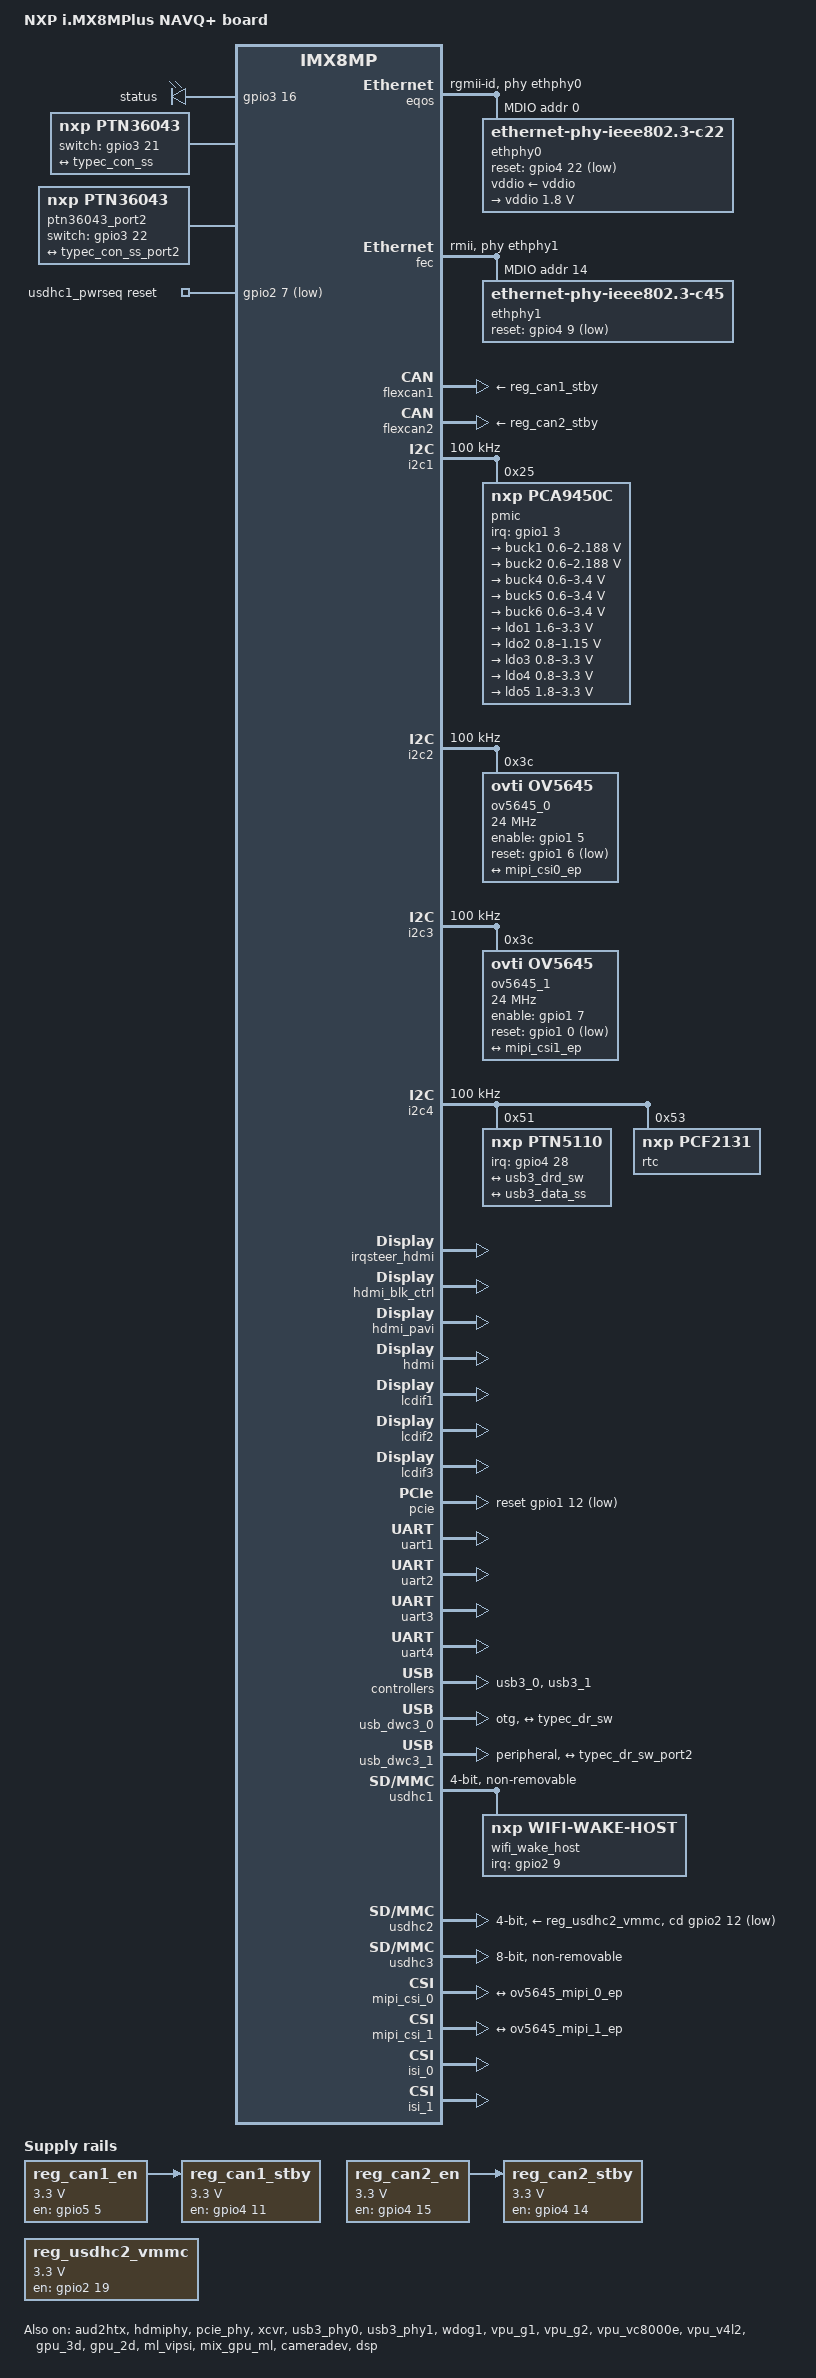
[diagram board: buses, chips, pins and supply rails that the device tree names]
// SPDX-License-Identifier: (GPL-2.0+ OR MIT)
/*
 * Copyright 2021-2023 Emcraft Systems
 * Copyright 2023 VoxelBotics
 * Copyright 2024 NXP
 */

/dts-v1/;

#include <dt-bindings/usb/pd.h>
#include "imx8mp.dtsi"

/ {
	model = "NXP i.MX8MPlus NAVQ+ board";
	compatible = "fsl,imx8mp-navq", "fsl,imx8mp";

	reserved-memory {
		#address-cells = <2>;
		#size-cells = <2>;
		ranges;

		rpmsg_reserved: rpmsg@55800000 {
			no-map;
			reg = <0 0x55800000 0 0x800000>;
		};
	};

	chosen {
		stdout-path = &uart2;
	};

	gpio-leds {
		compatible = "gpio-leds";
		pinctrl-names = "default";
		pinctrl-0 = <&pinctrl_gpio_led>;

		status {
			label = "status";
			gpios = <&gpio3 16 GPIO_ACTIVE_HIGH>;
			default-state = "on"; /* LED GREEN */
		};
	};

	reg_can1_en: regulator-can1-gen {
		compatible = "regulator-fixed";
		regulator-name = "can1-en";
		pinctrl-names = "default";
		pinctrl-0 = <&pinctrl_flexcan1_reg_en>;
		regulator-min-microvolt = <3300000>;
		regulator-max-microvolt = <3300000>;
		gpio = <&gpio5 5 GPIO_ACTIVE_HIGH>;
		enable-active-high;
	};

	reg_can2_en: regulator-can2-gen {
		compatible = "regulator-fixed";
		regulator-name = "can2-en";
		pinctrl-names = "default";
		pinctrl-0 = <&pinctrl_flexcan2_reg_en>;
		regulator-min-microvolt = <3300000>;
		regulator-max-microvolt = <3300000>;
		gpio = <&gpio4 15 GPIO_ACTIVE_HIGH>;
		enable-active-high;
	};

	reg_can1_stby: regulator-can1-stby {
		compatible = "regulator-fixed";
		regulator-name = "can1-stby";
		pinctrl-names = "default";
		pinctrl-0 = <&pinctrl_flexcan1_reg_stby>;
		regulator-min-microvolt = <3300000>;
		regulator-max-microvolt = <3300000>;
		gpio = <&gpio4 11 GPIO_ACTIVE_HIGH>;
		enable-active-high;
		vin-supply = <&reg_can1_en>;
	};

	reg_can2_stby: regulator-can2-stby {
		compatible = "regulator-fixed";
		regulator-name = "can2-stby";
		pinctrl-names = "default";
		pinctrl-0 = <&pinctrl_flexcan2_reg_stby>;
		regulator-min-microvolt = <3300000>;
		regulator-max-microvolt = <3300000>;
		gpio = <&gpio4 14 GPIO_ACTIVE_HIGH>;
		enable-active-high;
		vin-supply = <&reg_can2_en>;
	};

	reg_usdhc2_vmmc: regulator-usdhc2 {
		compatible = "regulator-fixed";
		pinctrl-names = "default";
		pinctrl-0 = <&pinctrl_reg_usdhc2_vmmc>;
		regulator-name = "VSD_3V3";
		regulator-min-microvolt = <3300000>;
		regulator-max-microvolt = <3300000>;
		gpio = <&gpio2 19 GPIO_ACTIVE_HIGH>;
		enable-active-high;
		startup-delay-us = <100>;
		off-on-delay-us = <12000>;
	};

	ptn36043 {
		compatible = "nxp,ptn36043";
		pinctrl-names = "default";
		pinctrl-0 = <&pinctrl_typec_mux>;
		switch-gpios = <&gpio3 21 GPIO_ACTIVE_HIGH>;
		orientation-switch;

		port {
			usb3_data_ss: endpoint {
				remote-endpoint = <&typec_con_ss>;
			};
		};
	};

	ptn36043_port2 {
		compatible = "nxp,ptn36043";
		pinctrl-names = "default";
		pinctrl-0 = <&pinctrl_typec_mux_port2>;
		switch-gpios = <&gpio3 22 GPIO_ACTIVE_HIGH>;
		orientation-switch;

		port {
			usb3_data_ss_port2: endpoint {
				remote-endpoint = <&typec_con_ss_port2>;
			};
		};
	};

	sound-hdmi {
		compatible = "fsl,imx-audio-hdmi";
		model = "audio-hdmi";
		audio-cpu = <&aud2htx>;
		hdmi-out;
		constraint-rate = <44100>,
				<88200>,
				<176400>,
				<32000>,
				<48000>,
				<96000>,
				<192000>;
		status = "okay";
	};

	sound-xcvr {
		compatible = "fsl,imx-audio-card";
		model = "imx-audio-xcvr";
		pri-dai-link {
			link-name = "XCVR PCM";
			cpu {
				sound-dai = <&xcvr>;
			};
		};
	};

	usdhc1_pwrseq: usdhc1_pwrseq {
		compatible = "mmc-pwrseq-simple";
		reset-gpios = <&gpio2 7 GPIO_ACTIVE_LOW>;
	};
};

&A53_0 {
	cpu-supply = <&buck2>;
};

&A53_1 {
	cpu-supply = <&buck2>;
};

&A53_2 {
	cpu-supply = <&buck2>;
};

&A53_3 {
	cpu-supply = <&buck2>;
};

&aud2htx {
	status = "okay";
};

&clk {
	init-on-array = <IMX8MP_CLK_HSIO_ROOT>;
};

&eqos {
	pinctrl-names = "default";
	pinctrl-0 = <&pinctrl_eqos>;
	phy-mode = "rgmii-id";
	phy-handle = <&ethphy0>;
	status = "okay";

	mdio {
		compatible = "snps,dwmac-mdio";
		#address-cells = <1>;
		#size-cells = <0>;

		ethphy0: ethernet-phy@0 {
			compatible = "ethernet-phy-ieee802.3-c22";
			reg = <0>;
			reset-gpios = <&gpio4 22 GPIO_ACTIVE_LOW>;
			reset-assert-us = <10000>;
			reset-deassert-us = <20>;

			qca,disable-smarteee;
			qca,disable-hibernation-mode;
			vddio-supply = <&vddio>;

			vddio: vddio-regulator {
				regulator-min-microvolt = <1800000>;
				regulator-max-microvolt = <1800000>;
			};
		};
	};
};

&fec {
	pinctrl-names = "default";
	pinctrl-0 = <&pinctrl_fec>;
	phy-mode = "rmii";
	phy-handle = <&ethphy1>;
	status = "okay";
	assigned-clock-parents = <&clk IMX8MP_SYS_PLL1_266M>,
							 <&clk IMX8MP_SYS_PLL2_100M>,
							 <&clk IMX8MP_SYS_PLL2_50M>,
							 <&clk IMX8MP_SYS_PLL2_50M>;
	assigned-clock-rates = <0>, <100000000>, <50000000>, <50000000>;

	mdio {
		#address-cells = <1>;
		#size-cells = <0>;

		ethphy1: ethernet-phy@14 {
			compatible = "ethernet-phy-ieee802.3-c45";
			reg = <14>;
			eee-broken-1000t;
			reset-gpios = <&gpio4 9 GPIO_ACTIVE_LOW>;
			reset-assert-us = <100000>;
			reset-deassert-us = <500000>;
		};
	};
};

&flexcan1 {
	pinctrl-names = "default";
	pinctrl-0 = <&pinctrl_flexcan1>;
	xceiver-supply = <&reg_can1_stby>;
	status = "okay";
};

&flexcan2 {
	pinctrl-names = "default";
	pinctrl-0 = <&pinctrl_flexcan2>;
	xceiver-supply = <&reg_can2_stby>;
	status = "okay";// can2 pin conflict with pdm: gpio low select pdm, gpio high select can2
};

&i2c1 {
	clock-frequency = <100000>;
	pinctrl-names = "default";
	pinctrl-0 = <&pinctrl_i2c1>;
	status = "okay";

	pmic@25 {
		compatible = "nxp,pca9450c";
		reg = <0x25>;
		pinctrl-names = "default";
		pinctrl-0 = <&pinctrl_pmic>;
		interrupt-parent = <&gpio1>;
		interrupts = <3 IRQ_TYPE_LEVEL_LOW>;

		regulators {
			buck1: BUCK1 {
				regulator-name = "BUCK1";
				regulator-min-microvolt = <600000>;
				regulator-max-microvolt = <2187500>;
				regulator-boot-on;
				regulator-always-on;
				regulator-ramp-delay = <3125>;
			};

			buck2: BUCK2 {
				regulator-name = "BUCK2";
				regulator-min-microvolt = <600000>;
				regulator-max-microvolt = <2187500>;
				regulator-boot-on;
				regulator-always-on;
				regulator-ramp-delay = <3125>;
				nxp,dvs-run-voltage = <950000>;
				nxp,dvs-standby-voltage = <850000>;
			};

			buck4: BUCK4 {
				regulator-name = "BUCK4";
				regulator-min-microvolt = <600000>;
				regulator-max-microvolt = <3400000>;
				regulator-boot-on;
				regulator-always-on;
			};

			buck5: BUCK5 {
				regulator-name = "BUCK5";
				regulator-min-microvolt = <600000>;
				regulator-max-microvolt = <3400000>;
				regulator-boot-on;
				regulator-always-on;
			};

			buck6: BUCK6 {
				regulator-name = "BUCK6";
				regulator-min-microvolt = <600000>;
				regulator-max-microvolt = <3400000>;
				regulator-boot-on;
				regulator-always-on;
			};

			ldo1: LDO1 {
				regulator-name = "LDO1";
				regulator-min-microvolt = <1600000>;
				regulator-max-microvolt = <3300000>;
				regulator-boot-on;
				regulator-always-on;
			};

			ldo2: LDO2 {
				regulator-name = "LDO2";
				regulator-min-microvolt = <800000>;
				regulator-max-microvolt = <1150000>;
				regulator-boot-on;
				regulator-always-on;
			};

			ldo3: LDO3 {
				regulator-name = "LDO3";
				regulator-min-microvolt = <800000>;
				regulator-max-microvolt = <3300000>;
				regulator-boot-on;
				regulator-always-on;
			};

			ldo4: LDO4 {
				regulator-name = "LDO4";
				regulator-min-microvolt = <800000>;
				regulator-max-microvolt = <3300000>;
				regulator-boot-on;
				regulator-always-on;
			};

			ldo5: LDO5 {
				regulator-name = "LDO5";
				regulator-min-microvolt = <1800000>;
				regulator-max-microvolt = <3300000>;
				regulator-boot-on;
				regulator-always-on;
			};
		};
	};
};

&i2c2 {
	clock-frequency = <100000>;
	pinctrl-names = "default";
	pinctrl-0 = <&pinctrl_i2c2>;
	status = "okay";

	ov5645_0: ov5645_mipi@3c {
		compatible = "ovti,ov5645";
		reg = <0x3c>;
		pinctrl-names = "default";
		pinctrl-0 = <&pinctrl_csi0_pwn>, <&pinctrl_csi0_rst>, <&pinctrl_csi_mclk>;
		clocks = <&clk IMX8MP_CLK_IPP_DO_CLKO1>;
		clock-names = "xclk";
		assigned-clocks = <&clk IMX8MP_CLK_IPP_DO_CLKO1>;
		assigned-clock-parents = <&clk IMX8MP_CLK_24M>;
		assigned-clock-rates = <24000000>;
		clock-frequency = <24000000>;
		csi_id = <0>;
		enable-gpios = <&gpio1 5 GPIO_ACTIVE_HIGH>;
		reset-gpios = <&gpio1 6 GPIO_ACTIVE_LOW>;
		mclk = <24000000>;
		mclk_source = <0>;
		status = "okay";

		port {
			ov5645_mipi_0_ep: endpoint {
				remote-endpoint = <&mipi_csi0_ep>;
				data-lanes = <1 2>;
				clock-lanes = <0>;
			};
		};
	};
};

&i2c3 {
	clock-frequency = <100000>;
	pinctrl-names = "default";
	pinctrl-0 = <&pinctrl_i2c3>;
	status = "okay";

	ov5645_1: ov5645_mipi@3c {
		compatible = "ovti,ov5645";
		reg = <0x3c>;
		pinctrl-names = "default";
		pinctrl-0 = <&pinctrl_csi1_pwn>, <&pinctrl_csi1_rst>, <&pinctrl_csi_mclk_extra>;
		clocks = <&clk IMX8MP_CLK_IPP_DO_CLKO2>;
		clock-names = "xclk";
		assigned-clocks = <&clk IMX8MP_CLK_IPP_DO_CLKO2>;
		assigned-clock-parents = <&clk IMX8MP_CLK_24M>;
		assigned-clock-rates = <24000000>;
		clock-frequency = <24000000>;
		csi_id = <1>;
		enable-gpios = <&gpio1 7 GPIO_ACTIVE_HIGH>;
		reset-gpios = <&gpio1 0 GPIO_ACTIVE_LOW>;
		mclk = <24000000>;
		mclk_source = <0>;
		mipi_csi;
		status = "okay";

		port {
			ov5645_mipi_1_ep: endpoint {
				remote-endpoint = <&mipi_csi1_ep>;
				data-lanes = <1 2>;
				clock-lanes = <0>;
			};
		};
	};
};

&i2c4 {
	clock-frequency = <100000>;
	pinctrl-names = "default";
	pinctrl-0 = <&pinctrl_i2c4>;
	status = "okay";

	ptn5110: tcpc@51 {
		compatible = "nxp,ptn5110";
		pinctrl-names = "default";
		pinctrl-0 = <&pinctrl_typec>;
		reg = <0x51>;
		interrupt-parent = <&gpio4>;
		interrupts = <28 8>;

		port {
			typec_dr_sw: endpoint {
				remote-endpoint = <&usb3_drd_sw>;
			};
		};

		usb_con: connector {
			compatible = "usb-c-connector";
			label = "USB-C Port1";
			power-role = "dual";
			data-role = "dual";
			try-power-role = "sink";
			source-pdos = <PDO_FIXED(5000, 3000, PDO_FIXED_USB_COMM)>;
			sink-pdos = <PDO_FIXED(5000, 3000, PDO_FIXED_USB_COMM)
				     PDO_VAR(5000, 20000, 3000)>;
			op-sink-microwatt = <15000000>;

			ports {
				#address-cells = <1>;
				#size-cells = <0>;

				port@1 {
					reg = <1>;
					typec_con_ss: endpoint {
						remote-endpoint = <&usb3_data_ss>;
					};
				};
			};
		};
	};

	ptn5110_port2: tcpc_port2@52 {
		compatible = "nxp,ptn5110";
		pinctrl-names = "default";
		pinctrl-0 = <&pinctrl_typec_port2>;
		reg = <0x52>;
		interrupt-parent = <&gpio3>;
		interrupts = <23 8>;
		status = "disabled";

		port {
			typec_dr_sw_port2: endpoint {
				remote-endpoint = <&usb3_drd_sw2>;
			};
		};

		usb_con_port2: connector {
			compatible = "usb-c-connector";
			label = "USB-C Port2";
			power-role = "dual";
			data-role = "dual";
			try-power-role = "sink";
			source-pdos = <PDO_FIXED(5000, 3000, PDO_FIXED_USB_COMM)>;
			sink-pdos = <PDO_FIXED(5000, 3000, PDO_FIXED_USB_COMM)
				     PDO_VAR(5000, 20000, 3000)>;
			op-sink-microwatt = <15000000>;

			ports {
				#address-cells = <1>;
				#size-cells = <0>;

				port@1 {
					reg = <1>;
					typec_con_ss_port2: endpoint {
						remote-endpoint = <&usb3_data_ss_port2>;
					};
				};
			};
		};
	};

	rtc@53 {
		compatible = "nxp,pcf2131";
		reg = <0x53>;
	};
};

&irqsteer_hdmi {
	status = "okay";
};

&hdmi_blk_ctrl {
	status = "okay";
};

&hdmi_pavi {
	status = "okay";
};

&hdmi {
	status = "okay";
};

&hdmiphy {
	status = "okay";
};

&lcdif1 {
	status = "okay";
};

&lcdif2 {
	status = "okay";
};

&lcdif3 {
	status = "okay";

	thres-low  = <1 2>;	     // (FIFO * 1 / 2)
	thres-high = <3 4>;	     // (FIFO * 3 / 4)
};

&pcie {
	pinctrl-names = "default";
	pinctrl-0 = <&pinctrl_pcie>;
	reset-gpio = <&gpio1 12 GPIO_ACTIVE_LOW>;
	ext_osc = <0>;
	clocks = <&clk IMX8MP_CLK_HSIO_ROOT>,
		 <&clk IMX8MP_CLK_PCIE_AUX>,
		 <&clk IMX8MP_CLK_HSIO_AXI>,
		 <&clk IMX8MP_CLK_PCIE_ROOT>;
	clock-names = "pcie", "pcie_aux", "pcie_phy", "pcie_bus";
	assigned-clocks = <&clk IMX8MP_CLK_HSIO_AXI>,
			  <&clk IMX8MP_CLK_PCIE_AUX>;
	assigned-clock-rates = <500000000>, <10000000>;
	assigned-clock-parents = <&clk IMX8MP_SYS_PLL2_500M>,
				 <&clk IMX8MP_SYS_PLL2_50M>;
	status = "okay";
	/delete-node/ wifi_wake_host;
};

&pcie_phy {
	status = "okay";
};

&xcvr {
	#sound-dai-cells = <0>;
	status = "okay";
};

&sdma2 {
	status = "okay";
};

&uart1 { /* BT */
	pinctrl-names = "default";
	pinctrl-0 = <&pinctrl_uart1>;
	assigned-clocks = <&clk IMX8MP_CLK_UART1>;
	assigned-clock-parents = <&clk IMX8MP_SYS_PLL1_80M>;
	uart-has-rtscts;
	status = "okay";
};

&uart2 {
	/* console */
	pinctrl-names = "default";
	pinctrl-0 = <&pinctrl_uart2>;
	status = "okay";
};

&uart3 {
	pinctrl-names = "default";
	pinctrl-0 = <&pinctrl_uart3>;
	assigned-clocks = <&clk IMX8MP_CLK_UART3>;
	assigned-clock-parents = <&clk IMX8MP_SYS_PLL1_80M>;
	fsl,uart-has-rtscts;
	status = "okay";
};

&uart4 {
	pinctrl-names = "default";
	pinctrl-0 = <&pinctrl_uart4>;
	assigned-clocks = <&clk IMX8MP_CLK_UART4>;
	assigned-clock-parents = <&clk IMX8MP_SYS_PLL1_80M>;
	fsl,uart-has-rtscts;
	status = "okay";
};

&usb3_phy0 {
	status = "okay";
};

&usb3_0 {
	status = "okay";
};

&usb_dwc3_0 {
	dr_mode = "otg";
	hnp-disable;
	srp-disable;
	adp-disable;
	usb-role-switch;
	status = "okay";

	port {
		usb3_drd_sw: endpoint {
			remote-endpoint = <&typec_dr_sw>;
		};
	};
};

&usb3_phy1 {
	fsl,phy-tx-vref-tune = <6>;
	fsl,phy-tx-rise-tune = <0>;
	fsl,phy-tx-preemp-amp-tune = <3>;
	fsl,phy-comp-dis-tune = <7>;
	fsl,pcs-tx-deemph-3p5db = <0x21>;
	fsl,phy-pcs-tx-swing-full = <0x7f>;
	status = "okay";
};

&usb3_1 {
	status = "okay";
};

&usb_dwc3_1 {
	dr_mode = "peripheral";
	hnp-disable;
	srp-disable;
	adp-disable;
	usb-role-switch;
	status = "okay";

	port {
		usb3_drd_sw2: endpoint {
			remote-endpoint = <&typec_dr_sw_port2>;
		};
	};
};

&usdhc1 {
	pinctrl-names = "default", "state_100mhz";
	pinctrl-0 = <&pinctrl_usdhc1>;
	pinctrl-1 = <&pinctrl_usdhc1_100mhz>;
	keep-power-in-suspend;
	bus-width = <4>;
	non-removable;
	wakeup-source;
	fsl,sdio-interrupt-enabled;
	mmc-pwrseq = <&usdhc1_pwrseq>;
	status = "okay";

	wifi_wake_host {
		compatible = "nxp,wifi-wake-host";
		interrupt-parent = <&gpio2>;
		interrupts = <9 IRQ_TYPE_LEVEL_LOW>;
		interrupt-names = "host-wake";
	};
};

&usdhc2 {
	pinctrl-names = "default", "state_100mhz", "state_200mhz";
	pinctrl-0 = <&pinctrl_usdhc2>, <&pinctrl_usdhc2_gpio>;
	pinctrl-1 = <&pinctrl_usdhc2_100mhz>, <&pinctrl_usdhc2_gpio>;
	pinctrl-2 = <&pinctrl_usdhc2_200mhz>, <&pinctrl_usdhc2_gpio>;
	cd-gpios = <&gpio2 12 GPIO_ACTIVE_LOW>;
	vmmc-supply = <&reg_usdhc2_vmmc>;
	bus-width = <4>;
	status = "okay";
};

&usdhc3 {
	pinctrl-names = "default", "state_100mhz", "state_200mhz";
	pinctrl-0 = <&pinctrl_usdhc3>;
	pinctrl-1 = <&pinctrl_usdhc3_100mhz>;
	pinctrl-2 = <&pinctrl_usdhc3_200mhz>;
	bus-width = <8>;
	non-removable;
	status = "okay";
};

&wdog1 {
	pinctrl-names = "default";
	pinctrl-0 = <&pinctrl_wdog>;
	fsl,ext-reset-output;
	status = "okay";
};

&iomuxc {
	pinctrl-names = "default";
	pinctrl-0 = <&pinctrl_hog>;

	pinctrl_hog: hoggrp {
		fsl,pins = <
			MX8MP_IOMUXC_HDMI_DDC_SCL__HDMIMIX_HDMI_SCL	0x400001c2
			MX8MP_IOMUXC_HDMI_DDC_SDA__HDMIMIX_HDMI_SDA	0x400001c2
			MX8MP_IOMUXC_HDMI_HPD__HDMIMIX_HDMI_HPD		0x40000010
			MX8MP_IOMUXC_HDMI_CEC__HDMIMIX_HDMI_CEC		0x40000010
		>;
	};

	pinctrl_eqos: eqosgrp {
		fsl,pins = <
			MX8MP_IOMUXC_ENET_MDC__ENET_QOS_MDC				0x2
			MX8MP_IOMUXC_ENET_MDIO__ENET_QOS_MDIO				0x2
			MX8MP_IOMUXC_ENET_RD0__ENET_QOS_RGMII_RD0			0x90
			MX8MP_IOMUXC_ENET_RD1__ENET_QOS_RGMII_RD1			0x90
			MX8MP_IOMUXC_ENET_RD2__ENET_QOS_RGMII_RD2			0x90
			MX8MP_IOMUXC_ENET_RD3__ENET_QOS_RGMII_RD3			0x90
			MX8MP_IOMUXC_ENET_RXC__CCM_ENET_QOS_CLOCK_GENERATE_RX_CLK	0x90
			MX8MP_IOMUXC_ENET_RX_CTL__ENET_QOS_RGMII_RX_CTL			0x90
			MX8MP_IOMUXC_ENET_TD0__ENET_QOS_RGMII_TD0			0x16
			MX8MP_IOMUXC_ENET_TD1__ENET_QOS_RGMII_TD1			0x16
			MX8MP_IOMUXC_ENET_TD2__ENET_QOS_RGMII_TD2			0x16
			MX8MP_IOMUXC_ENET_TD3__ENET_QOS_RGMII_TD3			0x16
			MX8MP_IOMUXC_ENET_TX_CTL__ENET_QOS_RGMII_TX_CTL			0x16
			MX8MP_IOMUXC_ENET_TXC__CCM_ENET_QOS_CLOCK_GENERATE_TX_CLK	0x16
			MX8MP_IOMUXC_SAI2_RXC__GPIO4_IO22				0x10
		>;
	};

	pinctrl_fec: fecgrp {
		fsl,pins = <
			MX8MP_IOMUXC_SAI1_RXD2__ENET1_MDC		0x2
			MX8MP_IOMUXC_SAI1_RXD3__ENET1_MDIO		0x2
			MX8MP_IOMUXC_SAI1_RXD4__ENET1_RGMII_RD0		0x90
			MX8MP_IOMUXC_SAI1_RXD5__ENET1_RGMII_RD1		0x90
			MX8MP_IOMUXC_SAI1_RXD6__GPIO4_IO08		0x90
			MX8MP_IOMUXC_SAI1_RXD7__GPIO4_IO09		0x10
			MX8MP_IOMUXC_SAI1_TXFS__ENET1_RGMII_RX_CTL	0x90
			MX8MP_IOMUXC_SAI1_TXD0__ENET1_RGMII_TD0		0x16
			MX8MP_IOMUXC_SAI1_TXD1__ENET1_RGMII_TD1		0x16
			MX8MP_IOMUXC_SAI1_TXD4__ENET1_RGMII_TX_CTL	0x16
			MX8MP_IOMUXC_SAI1_TXD6__ENET1_RX_ER		0x16
			MX8MP_IOMUXC_SAI1_TXD7__ENET1_TX_ER		0x16
			MX8MP_IOMUXC_SAI1_MCLK__ENET1_TX_CLK		0x16
			MX8MP_IOMUXC_SAI1_RXFS__ENET1_1588_EVENT0_IN	0x16
			MX8MP_IOMUXC_SAI1_RXC__ENET1_1588_EVENT0_OUT	0x16
		>;
	};

	pinctrl_flexcan1: flexcan1grp {
		fsl,pins = <
			MX8MP_IOMUXC_SPDIF_RX__CAN1_RX		0x154
			MX8MP_IOMUXC_SPDIF_TX__CAN1_TX		0x154
		>;
	};

	pinctrl_flexcan2: flexcan2grp {
		fsl,pins = <
			MX8MP_IOMUXC_SAI5_MCLK__CAN2_RX		0x154
			MX8MP_IOMUXC_SAI5_RXD3__CAN2_TX		0x154
		>;
	};

	pinctrl_flexcan1_reg_stby: flexcan1reggrpstby {
		fsl,pins = <
			MX8MP_IOMUXC_SAI1_TXC__GPIO4_IO11	0x154	// CAN1_STBY
		>;
	};

	pinctrl_flexcan2_reg_stby: flexcan2reggrpstby {
		fsl,pins = <
			MX8MP_IOMUXC_SAI1_TXD2__GPIO4_IO14	0x154	// CAN2_STBY
		>;
	};

	pinctrl_flexcan1_reg_en: flexcan1reggrpen {
		fsl,pins = <
			MX8MP_IOMUXC_SPDIF_EXT_CLK__GPIO5_IO05  0x154   // CAN1_EN
		>;
	};

	pinctrl_flexcan2_reg_en: flexcan2reggrpen {
		fsl,pins = <
			MX8MP_IOMUXC_SAI1_TXD3__GPIO4_IO15	0x154	// CAN2_EN
		>;
	};

	pinctrl_gpio_led: gpioledgrp {
		fsl,pins = <
			MX8MP_IOMUXC_NAND_READY_B__GPIO3_IO16	0x140
		>;
	};

	pinctrl_i2c1: i2c1grp {
		fsl,pins = <
			MX8MP_IOMUXC_I2C1_SCL__I2C1_SCL		0x400001c2
			MX8MP_IOMUXC_I2C1_SDA__I2C1_SDA		0x400001c2
		>;
	};

	pinctrl_i2c2: i2c2grp {
		fsl,pins = <
			MX8MP_IOMUXC_I2C2_SCL__I2C2_SCL		0x400001c2
			MX8MP_IOMUXC_I2C2_SDA__I2C2_SDA		0x400001c2
		>;
	};

	pinctrl_i2c3: i2c3grp {
		fsl,pins = <
			MX8MP_IOMUXC_I2C3_SCL__I2C3_SCL		0x400001c2
			MX8MP_IOMUXC_I2C3_SDA__I2C3_SDA		0x400001c2
		>;
	};

	pinctrl_i2c4: i2c4grp {
		fsl,pins = <
			MX8MP_IOMUXC_I2C4_SCL__I2C4_SCL		0x400001c2
			MX8MP_IOMUXC_I2C4_SDA__I2C4_SDA		0x400001c2
		>;
	};

	pinctrl_pcie: pciegrp {
		fsl,pins = <
			/**
			 * MX8MP_IOMUXC_I2C4_SCL__PCIE_CLKREQ_B		0x60
			 * MX8MP_IOMUXC_SD1_DATA4__GPIO2_IO06		0x40
			 * MX8MP_IOMUXC_SD1_DATA5__GPIO2_IO07		0x40
			 */
		>;
	};

	pinctrl_pmic: pmicgrp {
		fsl,pins = <
			MX8MP_IOMUXC_GPIO1_IO03__GPIO1_IO03	0x000001c0
		>;
	};

	pinctrl_typec: typecgrp {
		fsl,pins = <
			MX8MP_IOMUXC_SAI3_RXFS__GPIO4_IO28	0x1c4
		>;
	};

	pinctrl_typec_port2: typec1grp_port2 {
		fsl,pins = <
			MX8MP_IOMUXC_SAI5_RXD2__GPIO3_IO23	0x1c4
		>;
	};

	pinctrl_typec_mux: typec1muxgrp {
		fsl,pins = <
			MX8MP_IOMUXC_SAI5_RXD0__GPIO3_IO21	0x16
		>;
	};

	pinctrl_typec_mux_port2: typec1muxgrp_port2 {
		fsl,pins = <
			MX8MP_IOMUXC_SAI5_RXD1__GPIO3_IO22	0x16
		>;
	};

	pinctrl_reg_usdhc2_vmmc: regusdhc2vmmcgrp {
		fsl,pins = <
			MX8MP_IOMUXC_SD2_RESET_B__GPIO2_IO19	0x40
		>;
	};

	pinctrl_uart1: uart1grp {
		fsl,pins = <
			MX8MP_IOMUXC_UART1_RXD__UART1_DCE_RX	0x140
			MX8MP_IOMUXC_UART1_TXD__UART1_DCE_TX	0x140
			MX8MP_IOMUXC_UART3_RXD__UART1_DCE_CTS	0x140
			MX8MP_IOMUXC_UART3_TXD__UART1_DCE_RTS	0x140
		>;
	};

	pinctrl_uart2: uart2grp {
		fsl,pins = <
			MX8MP_IOMUXC_UART2_RXD__UART2_DCE_RX	0x40
			MX8MP_IOMUXC_UART2_TXD__UART2_DCE_TX	0x40
		>;
	};

	pinctrl_uart3: uart3grp {
		fsl,pins = <
			MX8MP_IOMUXC_ECSPI1_SCLK__UART3_DCE_RX		0x140
			MX8MP_IOMUXC_ECSPI1_MOSI__UART3_DCE_TX		0x140
			MX8MP_IOMUXC_ECSPI1_SS0__UART3_DCE_RTS		0x140
			MX8MP_IOMUXC_ECSPI1_MISO__UART3_DCE_CTS		0x140
		>;
	};

	pinctrl_uart4: uart4grp {
		fsl,pins = <
			MX8MP_IOMUXC_ECSPI2_SCLK__UART4_DCE_RX		0x140
			MX8MP_IOMUXC_ECSPI2_MOSI__UART4_DCE_TX		0x140
			MX8MP_IOMUXC_ECSPI2_SS0__UART4_DCE_RTS		0x140
			MX8MP_IOMUXC_ECSPI2_MISO__UART4_DCE_CTS		0x140
		>;
	};

	pinctrl_usdhc1: usdhc1grp {
		fsl,pins = <
			MX8MP_IOMUXC_SD1_CLK__USDHC1_CLK	0x190
			MX8MP_IOMUXC_SD1_CMD__USDHC1_CMD	0x1d0
			MX8MP_IOMUXC_SD1_DATA0__USDHC1_DATA0	0x1d0
			MX8MP_IOMUXC_SD1_DATA1__USDHC1_DATA1	0x1d0
			MX8MP_IOMUXC_SD1_DATA2__USDHC1_DATA2	0x1d0
			MX8MP_IOMUXC_SD1_DATA3__USDHC1_DATA3	0x1d0
			MX8MP_IOMUXC_SD1_DATA5__GPIO2_IO07	0x10
			MX8MP_IOMUXC_SD1_DATA7__GPIO2_IO09	0x1c4
		>;
	};

	pinctrl_usdhc1_100mhz: usdhc1grp-100mhz {
		fsl,pins = <
			MX8MP_IOMUXC_SD1_CLK__USDHC1_CLK	0x194
			MX8MP_IOMUXC_SD1_CMD__USDHC1_CMD	0x1d4
			MX8MP_IOMUXC_SD1_DATA0__USDHC1_DATA0	0x1d4
			MX8MP_IOMUXC_SD1_DATA1__USDHC1_DATA1	0x1d4
			MX8MP_IOMUXC_SD1_DATA2__USDHC1_DATA2	0x1d4
			MX8MP_IOMUXC_SD1_DATA3__USDHC1_DATA3	0x1d4
			MX8MP_IOMUXC_SD1_DATA5__GPIO2_IO07	0x19
			MX8MP_IOMUXC_SD1_DATA7__GPIO2_IO09	0x1c4
		>;
	};

	pinctrl_usdhc1_200mhz: usdhc1grp-200mhz {
		fsl,pins = <
			MX8MP_IOMUXC_SD1_CLK__USDHC1_CLK	0x196
			MX8MP_IOMUXC_SD1_CMD__USDHC1_CMD	0x1d6
			MX8MP_IOMUXC_SD1_DATA0__USDHC1_DATA0	0x1d6
			MX8MP_IOMUXC_SD1_DATA1__USDHC1_DATA1	0x1d6
			MX8MP_IOMUXC_SD1_DATA2__USDHC1_DATA2	0x1d6
			MX8MP_IOMUXC_SD1_DATA3__USDHC1_DATA3	0x1d6
			MX8MP_IOMUXC_SD1_DATA5__GPIO2_IO07	0x19
			MX8MP_IOMUXC_SD1_DATA7__GPIO2_IO09	0x1c4
		>;
	};

	pinctrl_usdhc2: usdhc2grp {
		fsl,pins = <
			MX8MP_IOMUXC_SD2_CLK__USDHC2_CLK	0x190
			MX8MP_IOMUXC_SD2_CMD__USDHC2_CMD	0x1d0
			MX8MP_IOMUXC_SD2_DATA0__USDHC2_DATA0	0x1d0
			MX8MP_IOMUXC_SD2_DATA1__USDHC2_DATA1	0x1d0
			MX8MP_IOMUXC_SD2_DATA2__USDHC2_DATA2	0x1d0
			MX8MP_IOMUXC_SD2_DATA3__USDHC2_DATA3	0x1d0
			MX8MP_IOMUXC_GPIO1_IO04__USDHC2_VSELECT	0xc0
		>;
	};

	pinctrl_usdhc2_100mhz: usdhc2-100mhzgrp {
		fsl,pins = <
			MX8MP_IOMUXC_SD2_CLK__USDHC2_CLK	0x194
			MX8MP_IOMUXC_SD2_CMD__USDHC2_CMD	0x1d4
			MX8MP_IOMUXC_SD2_DATA0__USDHC2_DATA0	0x1d4
			MX8MP_IOMUXC_SD2_DATA1__USDHC2_DATA1	0x1d4
			MX8MP_IOMUXC_SD2_DATA2__USDHC2_DATA2	0x1d4
			MX8MP_IOMUXC_SD2_DATA3__USDHC2_DATA3	0x1d4
			MX8MP_IOMUXC_GPIO1_IO04__USDHC2_VSELECT	0xc0
		>;
	};

	pinctrl_usdhc2_200mhz: usdhc2-200mhzgrp {
		fsl,pins = <
			MX8MP_IOMUXC_SD2_CLK__USDHC2_CLK	0x196
			MX8MP_IOMUXC_SD2_CMD__USDHC2_CMD	0x1d6
			MX8MP_IOMUXC_SD2_DATA0__USDHC2_DATA0	0x1d6
			MX8MP_IOMUXC_SD2_DATA1__USDHC2_DATA1	0x1d6
			MX8MP_IOMUXC_SD2_DATA2__USDHC2_DATA2	0x1d6
			MX8MP_IOMUXC_SD2_DATA3__USDHC2_DATA3	0x1d6
			MX8MP_IOMUXC_GPIO1_IO04__USDHC2_VSELECT	0xc0
		>;
	};

	pinctrl_usdhc2_gpio: usdhc2gpiogrp {
		fsl,pins = <
			MX8MP_IOMUXC_SD2_CD_B__GPIO2_IO12	0x1c4
		>;
	};

	pinctrl_usdhc3: usdhc3grp {
		fsl,pins = <
			MX8MP_IOMUXC_NAND_WE_B__USDHC3_CLK	0x190
			MX8MP_IOMUXC_NAND_WP_B__USDHC3_CMD	0x1d0
			MX8MP_IOMUXC_NAND_DATA04__USDHC3_DATA0	0x1d0
			MX8MP_IOMUXC_NAND_DATA05__USDHC3_DATA1	0x1d0
			MX8MP_IOMUXC_NAND_DATA06__USDHC3_DATA2	0x1d0
			MX8MP_IOMUXC_NAND_DATA07__USDHC3_DATA3	0x1d0
			MX8MP_IOMUXC_NAND_RE_B__USDHC3_DATA4	0x1d0
			MX8MP_IOMUXC_NAND_CE2_B__USDHC3_DATA5	0x1d0
			MX8MP_IOMUXC_NAND_CE3_B__USDHC3_DATA6	0x1d0
			MX8MP_IOMUXC_NAND_CLE__USDHC3_DATA7	0x1d0
			MX8MP_IOMUXC_NAND_CE1_B__USDHC3_STROBE	0x190
		>;
	};

	pinctrl_usdhc3_100mhz: usdhc3-100mhzgrp {
		fsl,pins = <
			MX8MP_IOMUXC_NAND_WE_B__USDHC3_CLK	0x194
			MX8MP_IOMUXC_NAND_WP_B__USDHC3_CMD	0x1d4
			MX8MP_IOMUXC_NAND_DATA04__USDHC3_DATA0	0x1d4
			MX8MP_IOMUXC_NAND_DATA05__USDHC3_DATA1	0x1d4
			MX8MP_IOMUXC_NAND_DATA06__USDHC3_DATA2	0x1d4
			MX8MP_IOMUXC_NAND_DATA07__USDHC3_DATA3	0x1d4
			MX8MP_IOMUXC_NAND_RE_B__USDHC3_DATA4	0x1d4
			MX8MP_IOMUXC_NAND_CE2_B__USDHC3_DATA5	0x1d4
			MX8MP_IOMUXC_NAND_CE3_B__USDHC3_DATA6	0x1d4
			MX8MP_IOMUXC_NAND_CLE__USDHC3_DATA7	0x1d4
			MX8MP_IOMUXC_NAND_CE1_B__USDHC3_STROBE	0x194
		>;
	};

	pinctrl_usdhc3_200mhz: usdhc3-200mhzgrp {
		fsl,pins = <
			MX8MP_IOMUXC_NAND_WE_B__USDHC3_CLK	0x196
			MX8MP_IOMUXC_NAND_WP_B__USDHC3_CMD	0x1d6
			MX8MP_IOMUXC_NAND_DATA04__USDHC3_DATA0	0x1d6
			MX8MP_IOMUXC_NAND_DATA05__USDHC3_DATA1	0x1d6
			MX8MP_IOMUXC_NAND_DATA06__USDHC3_DATA2	0x1d6
			MX8MP_IOMUXC_NAND_DATA07__USDHC3_DATA3	0x1d6
			MX8MP_IOMUXC_NAND_RE_B__USDHC3_DATA4	0x1d6
			MX8MP_IOMUXC_NAND_CE2_B__USDHC3_DATA5	0x1d6
			MX8MP_IOMUXC_NAND_CE3_B__USDHC3_DATA6	0x1d6
			MX8MP_IOMUXC_NAND_CLE__USDHC3_DATA7	0x1d6
			MX8MP_IOMUXC_NAND_CE1_B__USDHC3_STROBE	0x196
		>;
	};

	pinctrl_wdog: wdoggrp {
		fsl,pins = <
			MX8MP_IOMUXC_GPIO1_IO02__WDOG1_WDOG_B	0x166
		>;
	};

	pinctrl_csi0_pwn: csi0_pwn_grp {
		fsl,pins = <
			MX8MP_IOMUXC_GPIO1_IO05__GPIO1_IO05	0x10
		>;
	};

	pinctrl_csi0_rst: csi0_rst_grp {
		fsl,pins = <
			MX8MP_IOMUXC_GPIO1_IO06__GPIO1_IO06	0x10
		>;
	};

	pinctrl_csi1_pwn: csi1_pwn_grp {
		fsl,pins = <
			MX8MP_IOMUXC_GPIO1_IO07__GPIO1_IO07	0x10
		>;
	};

	pinctrl_csi1_rst: csi1_rst_grp {
		fsl,pins = <
			MX8MP_IOMUXC_GPIO1_IO00__GPIO1_IO00	0x10
		>;
	};


	pinctrl_csi_mclk: csi_mclk_grp {
		fsl,pins = <
			MX8MP_IOMUXC_GPIO1_IO14__CCM_CLKO1	0x50
		>;
	};

	pinctrl_csi_mclk_extra: csi_mclk_grp_extra {
		fsl,pins = <
			MX8MP_IOMUXC_GPIO1_IO15__CCM_CLKO2	0x50
		>;
	};
};

&vpu_g1 {
	status = "okay";
};

&vpu_g2 {
	status = "okay";
};

&vpu_vc8000e {
	status = "okay";
};

&vpu_v4l2 {
	status = "okay";
};

&gpu_3d {
	status = "okay";
};

&gpu_2d {
	status = "okay";
};

&ml_vipsi {
	status = "okay";
};

&mix_gpu_ml {
	status = "okay";
};

&mipi_csi_0 {
	#address-cells = <1>;
	#size-cells = <0>;
	status = "okay";

	port@0 {
		reg = <0>;
		mipi_csi0_ep: endpoint {
			remote-endpoint = <&ov5645_mipi_0_ep>;
			data-lanes = <2>;
			csis-hs-settle = <13>;
			csis-clk-settle = <2>;
			csis-wclk;
		};
	};
};

&mipi_csi_1 {
	#address-cells = <1>;
	#size-cells = <0>;
	status = "okay";

	port@1 {
		reg = <1>;
		mipi_csi1_ep: endpoint {
			remote-endpoint = <&ov5645_mipi_1_ep>;
			data-lanes = <2>;
			csis-hs-settle = <13>;
			csis-clk-settle = <2>;
			csis-wclk;
		};
	};
};

&cameradev {
	status = "okay";
};

&isi_0 {
	status = "okay";

	cap_device {
		status = "okay";
	};

	m2m_device {
		status = "okay";
	};
};

&isi_1 {
	status = "okay";

	cap_device {
		status = "okay";
	};
};

&dsp {
	status = "okay";
};
